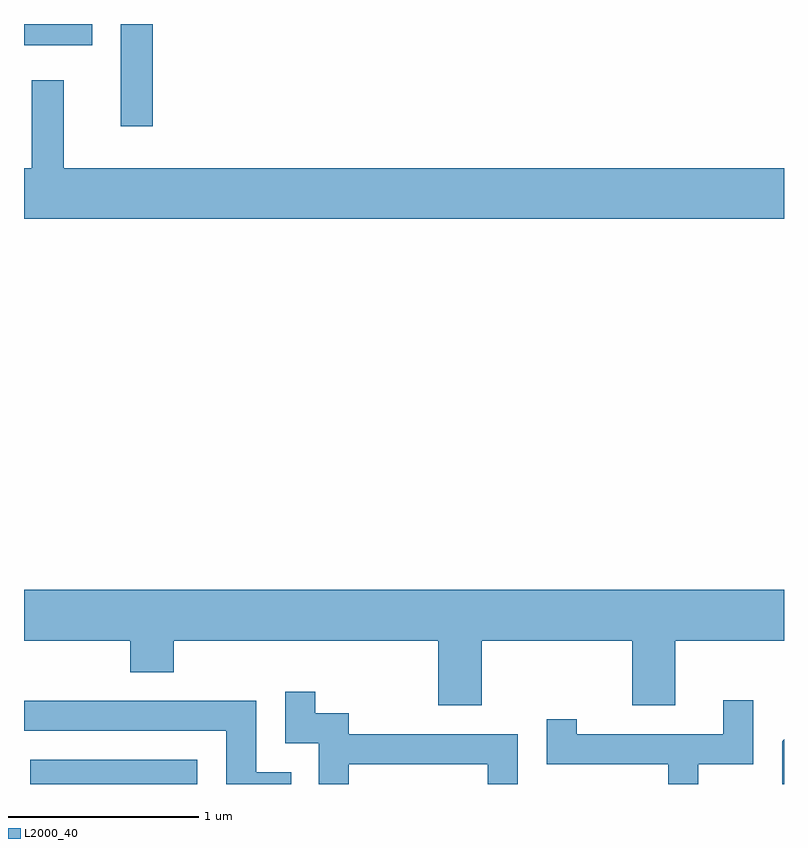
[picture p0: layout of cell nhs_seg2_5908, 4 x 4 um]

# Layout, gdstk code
import gdstk
lib = gdstk.Library(unit=1e-6, precision=1e-09)
def R(c, l, rs):  # rectangles x0, y0, x1, y1
    for r in rs: c.add(gdstk.rectangle(r[:2], r[2:], *l))
def P(c, l, *ps):  # polygons
    for p in ps: c.add(gdstk.Polygon(p, *l))
L2000_40 = (2000, 40)

nhs_seg2_5908 = lib.new_cell('nhs_seg2_5908')
R(nhs_seg2_5908, L2000_40, [(359.643,1029.802,360.524,1029.929), (360.121,1033.263,360.289,1033.802), (359.611,1033.691,359.969,1033.802)])
P(nhs_seg2_5908, L2000_40, [(363.611,1033.044),(359.819,1033.044),(359.819,1033.507),(359.651,1033.507),(359.651,1033.044),(359.611,1033.044),(359.611,1032.776),(363.611,1032.776)],
  [(362.019,1030.556),(362.811,1030.556),(362.811,1030.216),(363.039,1030.216),(363.039,1030.556),(363.611,1030.556),(363.611,1030.824),(359.611,1030.824),(359.611,1030.556),(360.171,1030.556),(360.171,1030.391),(360.399,1030.391),(360.399,1030.556),(361.791,1030.556),(361.791,1030.216),(362.019,1030.216)],
  [(361.319,1029.906),(362.051,1029.906),(362.051,1029.802),(362.209,1029.802),(362.209,1030.064),(361.319,1030.064),(361.319,1030.174),(361.144,1030.174),(361.144,1030.287),(360.986,1030.287),(360.986,1030.016),(361.161,1030.016),(361.161,1029.802),(361.319,1029.802)],
  [(363.159,1029.906),(363.449,1029.906),(363.449,1030.243),(363.291,1030.243),(363.291,1030.064),(362.519,1030.064),(362.519,1030.142),(362.361,1030.142),(362.361,1029.906),(363.001,1029.906),(363.001,1029.802),(363.159,1029.802)],
  [(361.018,1029.864),(360.834,1029.864),(360.834,1030.239),(359.611,1030.239),(359.611,1030.081),(360.676,1030.081),(360.676,1029.802),(361.018,1029.802)],
  [(363.611,1030.037),(363.601,1030.027),(363.601,1029.802),(363.611,1029.802)])

lib.write_gds('nhs_seg2_5908.gds')
